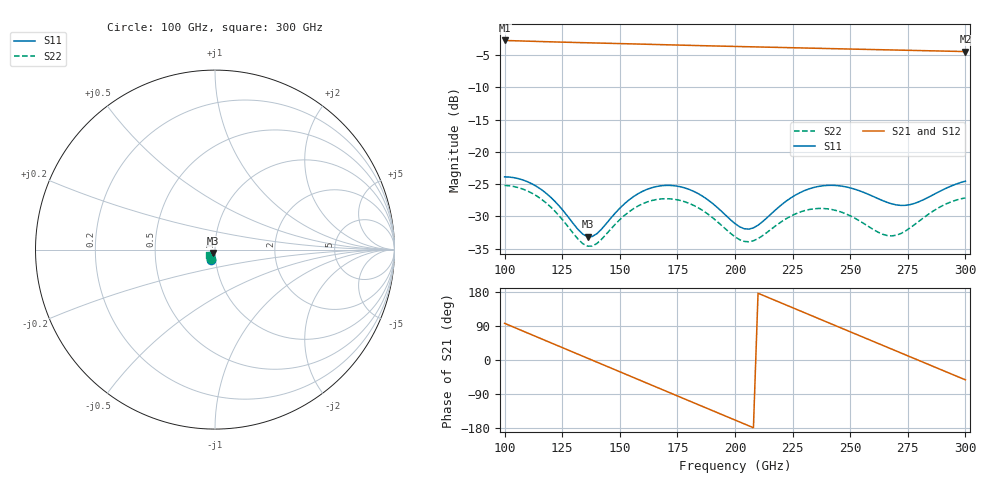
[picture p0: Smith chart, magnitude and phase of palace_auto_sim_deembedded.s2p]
! Created with skrf 1.11.0 (http://scikit-rf.org).
# GHz S DB R 50.0
!freq dBS11 angS11 dBS21 angS21 dBS12 angS12 dBS22 angS22
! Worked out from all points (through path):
!   101 points, 100 GHz to 300 GHz, reference 50 ohm
!   highest |S21| = -2.76 dB at 100 GHz (marker M1); lowest = -4.5 dB at 300 GHz (marker M2)
!   group delay of S21, straight-line fit = 7.07 ps
!   lowest |S11| = -33.2 dB at 136 GHz (marker M3), VSWR 1.04, Z = 48.8 - j1.83 ohm
!   |S11| at or under -10 dB: start of sweep to end of sweep
!   |S22| runs from -34.6 to -25.2 dB; largest |S21 - S12| = 6.9e-14
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100  -23.88 -108.4  -2.76 96.8  -2.76 96.8  -25.22 -113.9
108  -24.37 -123.6  -2.84 76.3  -2.84 76.3  -25.79 -129.7
116  -25.87 -136.7  -2.93 55.8  -2.93 55.8  -27.35 -143.4
126  -29.38 -144.2  -3.03 30.3  -3.03 30.3  -30.91 -151.6
134  -32.78 -129.7  -3.10 9.9  -3.10 9.9  -34.25 -138.1
136  -33.15 -121.9  -3.12 4.7  -3.12 4.7  -34.62 -130.8
140  -32.70 -106.1  -3.15 -5.5  -3.15 -5.5  -34.22 -116.2
150  -28.74 -93.2  -3.24 -31.0  -3.24 -31.0  -30.51 -104.8
160  -26.10 -102.6  -3.33 -56.6  -3.33 -56.6  -28.04 -115.0
168  -25.26 -114.3  -3.40 -77.0  -3.40 -77.0  -27.30 -127.3
182  -26.12 -134.3  -3.53 -112.6  -3.53 -112.6  -28.29 -148.4
192  -28.53 -141.6  -3.62 -138.1  -3.62 -138.1  -30.72 -156.2
200  -31.12 -134.4  -3.68 -158.4  -3.68 -158.4  -33.17 -150.0
208  -31.79 -112.2  -3.75 -178.8  -3.75 -178.8  -33.78 -131.4
216  -29.52 -98.4  -3.81 160.9  -3.81 160.9  -31.91 -120.4
234  -25.55 -108.1  -3.96 115.1  -3.96 115.1  -28.84 -132.2
242  -25.19 -117.0  -4.02 94.8  -4.02 94.8  -28.94 -141.4
250  -25.59 -124.7  -4.09 74.5  -4.09 74.5  -29.91 -148.4
268  -28.06 -124.4  -4.23 28.8  -4.23 28.8  -33.03 -134.7
276  -28.18 -114.5  -4.29 8.5  -4.29 8.5  -31.79 -121.2
284  -27.03 -107.6  -4.35 -11.8  -4.35 -11.8  -29.66 -118.9
300  -24.55 -113.0  -4.48 -52.4  -4.48 -52.4  -27.15 -134.4
